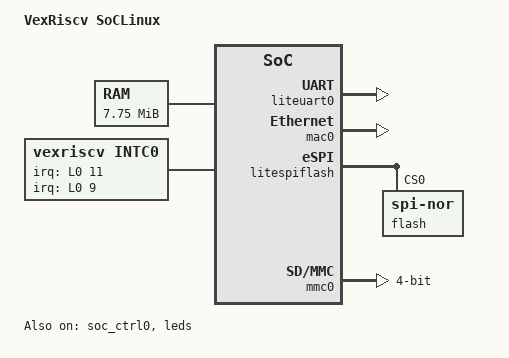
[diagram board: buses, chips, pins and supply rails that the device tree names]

/dts-v1/;

/ {
	#address-cells = <1>;
	#size-cells    = <1>;
	compatible = "enjoy-digital,litex-vexriscv-soclinux";
	model = "VexRiscv SoCLinux";

	chosen {
		bootargs = "mem=8M@0x40000000 rootwait console=liteuart earlycon=sbi root=/dev/nfs nfsroot=10.253.253.8:/srv/nfs,rsize=32768,wsize=4096 ethaddr=10:e2:d5:00:00:00 ip=dhcp init=/sbin/init swiotlb=32";
	};

	cpus {
		#address-cells = <1>;
		#size-cells    = <0>;
		timebase-frequency = <50000000>;

		cpu@0 {
			clock-frequency = <0x0>;
			compatible = "spinalhdl,vexriscv", "sifive,rocket0", "riscv";
			d-cache-block-size = <0x40>;
			d-cache-sets = <0x40>;
			d-cache-size = <0x8000>;
			d-tlb-sets = <0x1>;
			d-tlb-size = <0x20>;
			device_type = "cpu";
			i-cache-block-size = <0x40>;
			i-cache-sets = <0x40>;
			i-cache-size = <0x8000>;
			i-tlb-sets = <0x1>;
			i-tlb-size = <0x20>;
			mmu-type = "riscv,sv32";
			reg = <0>;
			riscv,isa = "rv32ima";
			sifive,itim = <0x1>;
			status = "okay";
			tlb-split;
			L0: interrupt-controller {
				#interrupt-cells = <0x00000001>;
				interrupt-controller;
				compatible = "riscv,cpu-intc";
			};
		};

	};

	memory@40000000 {
		device_type = "memory";
		reg = <0x40000000 0x7c0000>;
	};

	reserved-memory {
		#address-cells = <1>;
		#size-cells    = <1>;
		ranges;

		vexriscv_emulator@407c0000 {
			reg = <0x407c0000 0x20000>;
		};
	};


	soc {
		#address-cells = <1>;
		#size-cells    = <1>;
		compatible = "simple-bus";
		ranges;

                intc0: interrupt-controller {
                        interrupt-controller;
                        #interrupt-cells = <1>;
                        compatible = "vexriscv,intc0";
			interrupts-extended = <&L0 11 &L0 9>;
                        status = "okay";
                };

		soc_ctrl0: soc_controller@f0000000 {
			compatible = "litex,soc_controller";
			reg = <0xf0000000 0xc>;
			status = "okay";
		};
	
		liteuart0: serial@f0001000 {
			device_type = "serial";
			compatible = "litex,liteuart";
			reg = <0xf0001000 0x100>;
			status = "okay";
		};
	
		mac0: mac@f0005000 {
			compatible = "litex,liteeth";
                        interrupt-parent = <&intc0>;
			interrupts = <2>;
			reg = <0xf0005000 0x7c
				0xf0004800 0x10
				0xb0000000 0x4000>;
			tx-fifo-depth = <4>;
			rx-fifo-depth = <4>;
			mac-address = [10 e2 d5 00 00 00];
		};
	
		leds: gpio@f0003000 {
			compatible = "litex,gpio";
			reg = <0xf0003000 0x4>;
			litex,direction = "out";
			status = "disabled";
		};
	
		litespiflash: spiflash@f0003800 {
			compatible = "litex,spiflash";
			reg = <0xf0003800 0x100>;
			flash: flash@0 {
				compatible = "jedec,spi-nor";
				reg = <0x0 0x1000000>;
			};
		};
	
		mmc0: mmc@f0006000 {
			compatible = "litex,mmc";
			bus-width = <4>;
			reg = <
				0xf0005800 0x100
				0xf0006000 0x100
			        0xf0006800 0x100
			        0xf0007000 0x100
			      >;
			status = "okay";
		};
	
	};
	aliases {

	   serial0 = &liteuart0;

	   spiflash = &litespiflash;

	};

};

&leds {
	litex,ngpio = <4>;
	status = "okay";
};
	
